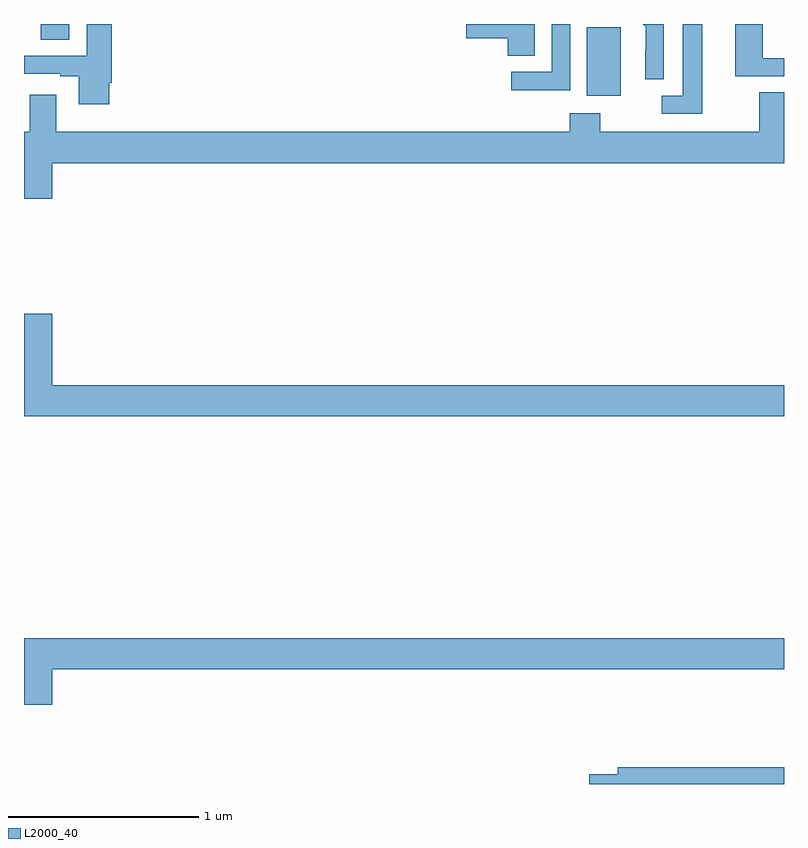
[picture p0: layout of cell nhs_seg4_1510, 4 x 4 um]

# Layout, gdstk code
import gdstk
lib = gdstk.Library(unit=1e-6, precision=1e-09)
def R(c, l, rs):  # rectangles x0, y0, x1, y1
    for r in rs: c.add(gdstk.rectangle(r[:2], r[2:], *l))
def P(c, l, *ps):  # polygons
    for p in ps: c.add(gdstk.Polygon(p, *l))
L2000_40 = (2000, 40)

nhs_seg4_1510 = lib.new_cell('nhs_seg4_1510')
R(nhs_seg4_1510, L2000_40, [(191.963,782.522,192.142,782.883), (189.089,782.818,189.238,782.9)])
P(nhs_seg4_1510, L2000_40, [(191.874,782.9),(191.778,782.9),(191.778,782.649),(191.565,782.649),(191.565,782.551),(191.874,782.551)],
  [(192.366,782.9),(192.257,782.9),(192.272,782.885),(192.272,782.762),(192.27,782.762),(192.27,782.608),(192.366,782.608)],
  [(189.448,782.59),(189.461,782.59),(189.461,782.9),(189.329,782.9),(189.329,782.733),(189,782.733),(189,782.637),(189.191,782.637),(189.191,782.625),(189.287,782.625),(189.287,782.478),(189.448,782.478)],
  [(191.689,782.9),(191.328,782.9),(191.328,782.825),(191.546,782.825),(191.546,782.734),(191.689,782.734)],
  [(193,782.721),(192.888,782.721),(192.888,782.9),(192.743,782.9),(192.743,782.625),(193,782.625)],
  [(192.571,782.9),(192.467,782.9),(192.467,782.523),(192.357,782.523),(192.357,782.427),(192.571,782.427)],
  [(189.148,782.168),(193,782.168),(193,782.54),(192.869,782.54),(192.869,782.332),(192.033,782.332),(192.033,782.431),(191.873,782.431),(191.873,782.332),(189.169,782.332),(189.169,782.527),(189.029,782.527),(189.029,782.332),(189,782.332),(189,781.98),(189.148,781.98)],
  [(193,781),(189.148,781),(189.148,781.375),(189,781.375),(189,780.836),(193,780.836)],
  [(189.148,779.504),(193,779.504),(193,779.668),(189,779.668),(189,779.316),(189.148,779.316)],
  [(193,778.988),(192.125,778.988),(192.125,778.952),(191.976,778.952),(191.976,778.9),(193,778.9)])

lib.write_gds('nhs_seg4_1510.gds')
